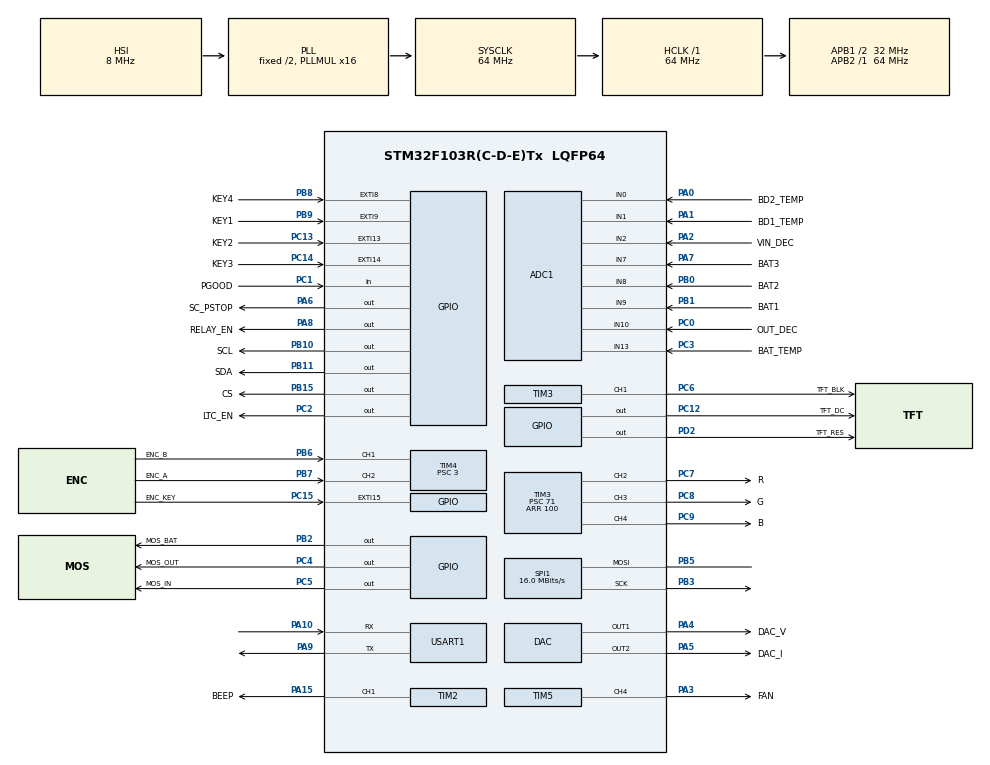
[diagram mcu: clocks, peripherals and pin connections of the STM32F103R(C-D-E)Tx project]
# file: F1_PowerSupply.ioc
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Dma.USART1_TX.2.Direction=DMA_MEMORY_TO_PERIPH
SPI1.VirtualType=VM_MASTER
PB10.GPIO_PuPd=GPIO_PULLUP
PC12.Signal=GPIO_Output
PC6.GPIO_Label=TFT_BLK
PA6.GPIO_Label=SC_PSTOP
PB6.GPIO_Label=ENC_B
PC15-OSC32_OUT.GPIO_Label=ENC_KEY
TIM3.Channel-PWM\ Generation4\ CH4=TIM_CHANNEL_4
RCC.SYSCLKSource=RCC_SYSCLKSOURCE_PLLCLK
PB11.GPIO_Speed=GPIO_SPEED_FREQ_HIGH
SPI1.Direction=SPI_DIRECTION_1LINE
RCC.APB2TimFreq_Value=64000000
PB6.Signal=S_TIM4_CH1
Dma.ADC1.0.Direction=DMA_PERIPH_TO_MEMORY
PC7.Signal=S_TIM3_CH2
SPI1.CalculateBaudRate=16.0 MBits/s
PC3.Signal=ADCx_IN13
Dma.ADC1.0.MemDataAlignment=DMA_MDATAALIGN_HALFWORD
NVIC.EXTI15_10_IRQn=true\:5\:0\:false\:false\:true\:true\:true\:true
Dma.USART1_RX.1.PeriphDataAlignment=DMA_PDATAALIGN_BYTE
PB2.Signal=GPIO_Output
PB3.Mode=Simplex_Bidirectional_Master
PC4.GPIO_Label=MOS_OUT
PB1.GPIO_Label=BAT1
Dma.ADC1.0.PeriphInc=DMA_PINC_DISABLE
SH.ADCx_IN8.0=ADC1_IN8,IN8
SH.S_TIM4_CH2.0=TIM4_CH2,Encoder_Interface
PA8.Signal=GPIO_Output
TIM4.Period=65535
Dma.USART1_TX.2.MemDataAlignment=DMA_MDATAALIGN_BYTE
VP_FREERTOS_VS_CMSIS_V1.Mode=CMSIS_V1
Dma.USART1_RX.1.Mode=DMA_NORMAL
Mcu.Package=LQFP64
PB9.Signal=GPXTI9
TIM2.Prescaler=220
PB1.Signal=ADCx_IN9
NVIC.TimeBase=TIM1_UP_IRQn
PC13-TAMPER-RTC.GPIO_PuPd=GPIO_PULLUP
NVIC.TimeBaseIP=TIM1
PA10.Signal=USART1_RX
PB9.GPIO_PuPd=GPIO_PULLUP
SH.ADCx_IN9.0=ADC1_IN9,IN9
Dma.USART1_RX.1.PeriphInc=DMA_PINC_DISABLE
SH.S_TIM4_CH1.0=TIM4_CH1,Encoder_Interface
RCC.APB1TimFreq_Value=64000000
NVIC.DMA1_Channel4_IRQn=true\:5\:0\:false\:false\:true\:true\:false\:true
NVIC.USART1_IRQn=true\:5\:0\:false\:false\:true\:true\:true\:true
PA4.GPIO_Label=DAC_V
PB7.GPIO_PuPd=GPIO_PULLUP
Dma.USART1_RX.1.Instance=DMA1_Channel5
Dma.ADC1.0.Instance=DMA1_Channel1
Dma.USART1_RX.1.MemDataAlignment=DMA_MDATAALIGN_BYTE
FREERTOS.Tasks01=defaultTask,0,128,StartDefaultTask,Default,NULL,Dynamic,NULL,NULL;myTask02,-2,128,StartTask02,Default,NULL,Dynamic,NULL,NULL
TIM4.CounterMode=TIM_COUNTERMODE_UP
Dma.USART1_TX.2.MemInc=DMA_MINC_ENABLE
TIM3.AutoReloadPreload=TIM_AUTORELOAD_PRELOAD_ENABLE
FREERTOS.INCLUDE_vTaskDelayUntil=1
PB6.GPIO_PuPd=GPIO_PULLUP
PB8.GPIO_PuPd=GPIO_PULLUP
PC6.Signal=S_TIM3_CH1
PC2.Signal=GPIO_Output
PB11.GPIO_Label=SDA
RCC.USBPrescaler=RCC_USBCLKSOURCE_PLL_DIV1_5
TIM4.IC2Filter=15
PC0.Signal=ADCx_IN10
RCC.APB1CLKDivider=RCC_HCLK_DIV2
PC14-OSC32_IN.Signal=GPXTI14
PA0-WKUP.GPIO_Label=BD2_TEMP
PA0-WKUP.Signal=ADCx_IN0
TIM3.Channel-PWM\ Generation3\ CH3=TIM_CHANNEL_3
PB8.GPIO_Label=KEY4
PA8.GPIO_Label=RELAY_EN
SH.ADCx_IN7.0=ADC1_IN7,IN7
Dma.ADC1.0.Priority=DMA_PRIORITY_LOW
PA9.Signal=USART1_TX
PB10.Signal=GPIO_Output
PA5.Signal=COMP_DAC2_group
PC13-TAMPER-RTC.GPIO_Label=KEY2
PC14-OSC32_IN.GPIO_ModeDefaultEXTI=GPIO_MODE_IT_FALLING
PB15.GPIO_Label=CS
SPI1.Mode=SPI_MODE_MASTER
PA1.GPIO_Label=BD1_TEMP
TIM2.Period=100
PA13.Mode=Serial_Wire
PC7.GPIO_Label=R
ADC1.SamplingTime-1\#ChannelRegularConversion=ADC_SAMPLETIME_1CYCLE_5
PA4.Signal=COMP_DAC1_group
PB5.Signal=SPI1_MOSI
ADC1.master=1
PA5.GPIO_Label=DAC_I
PC12.GPIO_Label=TFT_DC
USART1.VirtualMode=VM_ASYNC
ADC1.Rank-1\#ChannelRegularConversion=1
SH.S_TIM2_CH1_ETR.0=TIM2_CH1,PWM Generation1 CH1
ProjectManager.HeapSize=0x200
NVIC.PriorityGroup=NVIC_PRIORITYGROUP_4
TIM3.Channel-PWM\ Generation2\ CH2=TIM_CHANNEL_2
Dma.USART1_TX.2.Instance=DMA1_Channel4
TIM2.AutoReloadPreload=TIM_AUTORELOAD_PRELOAD_DISABLE
PC3.GPIO_Label=BAT_TEMP
PC14-OSC32_IN.GPIO_PuPd=GPIO_PULLUP
Dma.USART1_RX.1.Direction=DMA_PERIPH_TO_MEMORY
NVIC.DMA1_Channel1_IRQn=true\:5\:0\:false\:false\:true\:true\:false\:true
PD2.Signal=GPIO_Output
PB0.Signal=ADCx_IN8
PC1.Signal=GPIO_Input
PD2.GPIO_Label=TFT_RES
Mcu.Family=STM32F1
NVIC.DMA1_Channel5_IRQn=true\:5\:0\:false\:false\:true\:true\:false\:true
TIM5.Channel-Output\ Compare4\ CH4=TIM_CHANNEL_4
PB10.GPIO_Speed=GPIO_SPEED_FREQ_HIGH
SH.ADCx_IN2.0=ADC3_IN2
SH.ADCx_IN2.1=ADC1_IN2,IN2
TIM4.EncoderMode=TIM_ENCODERMODE_TI12
PC0.GPIO_Label=OUT_DEC
PB0.GPIO_Label=BAT2
NVIC.TIM1_UP_IRQn=true\:0\:0\:false\:false\:true\:false\:false\:true
PB11.GPIO_PuPd=GPIO_PULLUP
PB11.Signal=GPIO_Output
PB15.Signal=GPIO_Output
ProjectManager.StackSize=0x400
SH.COMP_DAC2_group.0=DAC_OUT2,DAC_OUT2
PA15.GPIO_Label=BEEP
PB8.GPIO_ModeDefaultEXTI=GPIO_MODE_IT_FALLING
RCC.HCLKFreq_Value=64000000
TIM3.Period=100
PB9.GPIO_ModeDefaultEXTI=GPIO_MODE_IT_FALLING
Dma.USART1_RX.1.MemInc=DMA_MINC_ENABLE
RCC.AHBFreq_Value=64000000
TIM3.Channel-PWM\ Generation1\ CH1=TIM_CHANNEL_1
RCC.PLLMUL=RCC_PLL_MUL16
PA14.Mode=Serial_Wire
VP_SYS_VS_tim1.Mode=TIM1
TIM3.Prescaler=71
PB5.Mode=Simplex_Bidirectional_Master
Dma.USART1_TX.2.PeriphDataAlignment=DMA_PDATAALIGN_BYTE
PB7.Signal=S_TIM4_CH2
SH.ADCx_IN0.0=ADC1_IN0,IN0
TIM2.Channel-PWM\ Generation1\ CH1=TIM_CHANNEL_1
SH.S_TIM3_CH1.0=TIM3_CH1,PWM Generation1 CH1
TIM6.Period=10
TIM3.OCPolarity_4=TIM_OCPOLARITY_LOW
TIM3.OCPolarity_1=TIM_OCPOLARITY_HIGH
TIM3.OCPolarity_2=TIM_OCPOLARITY_LOW
TIM3.OCPolarity_3=TIM_OCPOLARITY_LOW
PB7.GPIO_Label=ENC_A
PA6.Signal=GPIO_Output
TIM4.IC1Polarity=TIM_ICPOLARITY_FALLING
PA2.GPIO_Label=VIN_DEC
PA15.Signal=S_TIM2_CH1_ETR
TIM4.IC1Filter=15
SH.ADCx_IN1.0=ADC1_IN1,IN1
Dma.Request2=USART1_TX
Dma.Request1=USART1_RX
PC14-OSC32_IN.GPIO_Label=KEY3
PC5.Signal=GPIO_Output
Dma.USART1_RX.1.Priority=DMA_PRIORITY_LOW
Dma.Request0=ADC1
SPI1.BaudRatePrescaler=SPI_BAUDRATEPRESCALER_4
PC2.GPIO_Label=LTC_EN
VP_TIM3_VS_ClockSourceINT.Mode=Internal
PA3.Signal=S_TIM5_CH4
RCC.PLLSourceVirtual=RCC_PLLSOURCE_HSI_DIV2
SH.COMP_DAC1_group.0=DAC_OUT1,DAC_OUT1
SH.ADCx_IN13.0=ADC1_IN13,IN13
PB9.GPIO_Label=KEY1
PA10.Mode=Asynchronous
PC9.GPIO_Label=B
PC8.Signal=S_TIM3_CH3
TIM6.Prescaler=3600-1
PC4.Signal=GPIO_Output
VP_TIM6_VS_ClockSourceINT.Mode=Enable_Timer
PC13-TAMPER-RTC.Signal=GPXTI13
SH.S_TIM3_CH3.0=TIM3_CH3,PWM Generation3 CH3
TIM2.Pulse-PWM\ Generation1\ CH1=50
NVIC.TIM6_IRQn=true\:5\:0\:false\:false\:true\:true\:true\:true
RCC.ADCPresc=RCC_ADCPCLK2_DIV8
PC8.GPIO_Label=G
PA13.Signal=SYS_JTMS-SWDIO
TIM6.AutoReloadPreload=TIM_AUTORELOAD_PRELOAD_ENABLE
Dma.ADC1.0.PeriphDataAlignment=DMA_PDATAALIGN_HALFWORD
PA9.Mode=Asynchronous
ProjectManager.TargetToolchain=MDK-ARM V5.27
PB10.GPIO_Label=SCL
Dma.ADC1.0.Mode=DMA_CIRCULAR
ADC1.Channel-1\#ChannelRegularConversion=ADC_CHANNEL_13
RCC.USBFreq_Value=42666666.666666664
TIM4.Prescaler=3
PC15-OSC32_OUT.Signal=GPXTI15
PA1.Signal=ADCx_IN1
TIM4.IC2Polarity=TIM_ICPOLARITY_FALLING
SH.S_TIM3_CH2.0=TIM3_CH2,PWM Generation2 CH2
board=custom
PC13-TAMPER-RTC.GPIO_ModeDefaultEXTI=GPIO_MODE_IT_FALLING
RCC.APB2Freq_Value=64000000
VP_TIM2_VS_ClockSourceINT.Mode=Internal
Dma.USART1_TX.2.Priority=DMA_PRIORITY_LOW
PC1.GPIO_Label=PGOOD
SH.S_TIM5_CH4.0=TIM5_CH4,Output Compare4 CH4
Mcu.Name=STM32F103R(C-D-E)Tx
PA2.Signal=ADCx_IN2
Dma.USART1_TX.2.PeriphInc=DMA_PINC_DISABLE
PB3.Signal=SPI1_SCK
RCC.SYSCLKFreq_VALUE=64000000
PA7.GPIO_Label=BAT3
PC5.GPIO_Label=MOS_IN
NVIC.EXTI9_5_IRQn=true\:5\:0\:false\:false\:true\:true\:true\:true
PA14.Signal=SYS_JTCK-SWCLK
Dma.ADC1.0.MemInc=DMA_MINC_ENABLE
SH.ADCx_IN10.0=ADC1_IN10,IN10
PB2.GPIO_Label=MOS_BAT
Dma.USART1_TX.2.Mode=DMA_NORMAL
ADC1.NbrOfConversionFlag=1
PB8.Signal=GPXTI8
PC9.Signal=S_TIM3_CH4
RCC.APB1Freq_Value=32000000
PA3.GPIO_Label=FAN
SH.S_TIM3_CH4.0=TIM3_CH4,PWM Generation4 CH4
PA7.Signal=ADCx_IN7

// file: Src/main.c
/* USER CODE BEGIN Header */
/**
  ******************************************************************************
  * @file           : main.c
  * @brief          : Main program body
  ******************************************************************************
  * @attention
  *
  * <h2><center>&copy; Copyright (c) 2021 STMicroelectronics.
  * All rights reserved.</center></h2>
  *
  * This software component is licensed by ST under BSD 3-Clause license,
  * the "License"; You may not use this file except in compliance with the
  * License. You may obtain a copy of the License at:
  *                        opensource.org/licenses/BSD-3-Clause
  *
  ******************************************************************************
  */
/* USER CODE END Header */
#include "main.h"
#include "cmsis_os.h"
#include "adc.h"
#include "dac.h"
#include "dma.h"
#include "spi.h"
#include "tim.h"
#include "usart.h"
#include "gpio.h"

/* USER CODE BEGIN Includes */
#include "Func.h"
/* USER CODE END Includes */

/* USER CODE BEGIN PM */
u32 ENC1;
/* USER CODE END PM */

void SystemClock_Config(void);
void MX_FREERTOS_Init(void);
/* USER CODE BEGIN PFP */
u16 VAL;
u32 VAL2;
float VOL[1];

Time_Typedef TimeNow= {0X00,0X00,0X00,0X04,0X27,0X04,0X21};

/* USER CODE END PFP */

/* USER CODE BEGIN 0 */
uint32_t sysclock = 0; //初始化

/* USER CODE END 0 */

int main(void)
{

  /* MCU Configuration--------------------------------------------------------*/

  /* Reset of all peripherals, Initializes the Flash interface and the Systick. */
  HAL_Init();

  /* Configure the system clock */
  SystemClock_Config();

  /* Initialize all configured peripherals */
  MX_GPIO_Init();
  MX_DMA_Init();
  MX_DAC_Init();
  MX_SPI1_Init();
  MX_TIM2_Init();
  MX_TIM3_Init();
  MX_TIM4_Init();
  MX_TIM5_Init();
  MX_TIM6_Init();
  MX_ADC1_Init();
  MX_USART1_UART_Init();
  /* USER CODE BEGIN 2 */

  HARDWARE_INIT();
  SOFTWARE_INIT();
//  AT24CXX_Init();
//    if(AT24CXX_Check()){
//		LED.LED_COLOR(GREEN_,100);
//	}
//  AT24CXX_WriteOneByte(0X0055,0XAA);
//  VAL =  AT24CXX_ReadOneByte(0X0055);
//  printf("buf=%x\r\n",VAL);

//  DS1307_Time_Init(&TimeNow);
//  DS1307_ReadWrite_Time(0);

  /* USER CODE END 2 */

  /* Call init function for freertos objects (in freertos.c) */
//  MX_FREERTOS_Init();
//  /* Start scheduler */
//  osKernelStart();

  /* We should never get here as control is now taken by the scheduler */
  /* Infinite loop */
  while (1)
  {
//	sysclock = HAL_RCC_GetSysClockFreq();//仿真查看sysclock
    /* USER CODE BEGIN 3 */
//	  float buf;
	  TIME_TASK();
	  UPDATA_SHOW();
//	  Show_Chart(175,150,140,0,BUF_VOUT);
	  //INTERFACE_SHOW();

	  //GUI显示
//	  LED.LED_COLOR(RED_,100);
//	  DS1307_ReadWrite_Time(1);
//	  HAL_Delay(100);
//	  GetVoltage(VOL);
//	  INA226_SetRegPointer(INA226_ADDR1,0X02);
//	  VAL=INA226_ReadData(INA226_ADDR1);
//	  GetVoltage(VOL);
//	  printf("INA226_VOUT=%.2f\r\n",VOL[0]);
//	  Get_Shunt_voltage(VOL);
//	  printf("INA226_VSHUNT=%.2f\r\n",VOL[0]);
//	  Get_Shunt_Current(VOL);
//	  printf("INA226_IOUT=%.2f\r\n",VOL[0]);
////	  HAL_Delay(200);
	  VAL=SC8813_Get_Data(0XE8);
////	  //VAL=SC8813_Get_ID(0XE8);
      printf("SC8813 Set OK\r\n",VAL);
      printf("SC8813_VAL=%d\r\n",VAL);
  }
  /* USER CODE END 3 */
}

void SystemClock_Config(void)
{
  RCC_OscInitTypeDef RCC_OscInitStruct = {0};
  RCC_ClkInitTypeDef RCC_ClkInitStruct = {0};
  RCC_PeriphCLKInitTypeDef PeriphClkInit = {0};

  /** Initializes the RCC Oscillators according to the specified parameters
  * in the RCC_OscInitTypeDef structure.
  */
  RCC_OscInitStruct.OscillatorType = RCC_OSCILLATORTYPE_HSI;
  RCC_OscInitStruct.HSIState = RCC_HSI_ON;
  RCC_OscInitStruct.HSICalibrationValue = RCC_HSICALIBRATION_DEFAULT;
  RCC_OscInitStruct.PLL.PLLState = RCC_PLL_ON;
  RCC_OscInitStruct.PLL.PLLSource = RCC_PLLSOURCE_HSI_DIV2;
  RCC_OscInitStruct.PLL.PLLMUL = RCC_PLL_MUL16;
  if (HAL_RCC_OscConfig(&RCC_OscInitStruct) != HAL_OK)
  {
    Error_Handler();
  }
  /** Initializes the CPU, AHB and APB buses clocks
  */
  RCC_ClkInitStruct.ClockType = RCC_CLOCKTYPE_HCLK|RCC_CLOCKTYPE_SYSCLK
                              |RCC_CLOCKTYPE_PCLK1|RCC_CLOCKTYPE_PCLK2;
  RCC_ClkInitStruct.SYSCLKSource = RCC_SYSCLKSOURCE_PLLCLK;
  RCC_ClkInitStruct.AHBCLKDivider = RCC_SYSCLK_DIV1;
  RCC_ClkInitStruct.APB1CLKDivider = RCC_HCLK_DIV2;
  RCC_ClkInitStruct.APB2CLKDivider = RCC_HCLK_DIV1;

  if (HAL_RCC_ClockConfig(&RCC_ClkInitStruct, FLASH_LATENCY_2) != HAL_OK)
  {
    Error_Handler();
  }
  PeriphClkInit.PeriphClockSelection = RCC_PERIPHCLK_ADC;
  PeriphClkInit.AdcClockSelection = RCC_ADCPCLK2_DIV8;
  if (HAL_RCCEx_PeriphCLKConfig(&PeriphClkInit) != HAL_OK)
  {
    Error_Handler();
  }
}

/* USER CODE BEGIN 4 */

int fputc(int ch,FILE *f)
{
    uint8_t temp[1]={ch};
    HAL_UART_Transmit(&huart1,temp,1,2);
}

/* USER CODE END 4 */

 /**
  * @brief  Period elapsed callback in non blocking mode
  * @note   This function is called  when TIM1 interrupt took place, inside
  * HAL_TIM_IRQHandler(). It makes a direct call to HAL_IncTick() to increment
  * a global variable "uwTick" used as application time base.
  * @param  htim : TIM handle
  * @retval None
  */
void HAL_TIM_PeriodElapsedCallback(TIM_HandleTypeDef *htim)
{
  if (htim->Instance == TIM1) {
    HAL_IncTick();
  }
}

void Error_Handler(void)
{
}

/************************ (C) COPYRIGHT STMicroelectronics *****END OF FILE****/
